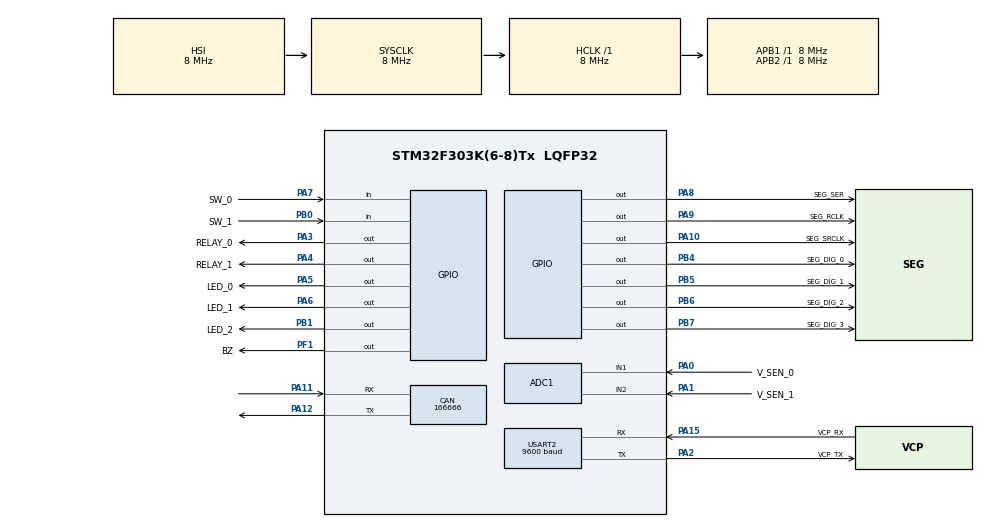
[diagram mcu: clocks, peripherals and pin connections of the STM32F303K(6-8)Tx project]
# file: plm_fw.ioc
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ADC1.Channel-0\#ChannelRegularConversion=ADC_CHANNEL_1
ADC1.ContinuousConvMode=DISABLE
ADC1.DMAContinuousRequests=DISABLE
ADC1.DiscontinuousConvMode=DISABLE
ADC1.EOCSelection=ADC_EOC_SEQ_CONV
ADC1.NbrOfConversion=1
ADC1.NbrOfConversionFlag=1
ADC1.Offset-0\#ChannelRegularConversion=0
ADC1.OffsetNumber-0\#ChannelRegularConversion=ADC_OFFSET_NONE
ADC1.Rank-0\#ChannelRegularConversion=1
ADC1.SamplingTime-0\#ChannelRegularConversion=ADC_SAMPLETIME_181CYCLES_5
ADC1.SubFamily=STM32F303x8
ADC1.master=1
CAN.CalculateBaudRate=166666
CAN.CalculateTimeBit=6000
CAN.CalculateTimeQuantum=2000.0
Mcu.Family=STM32F3
Mcu.Name=STM32F303K(6-8)Tx
Mcu.Package=LQFP32
NVIC.PriorityGroup=NVIC_PRIORITYGROUP_4
PA0.GPIO_Label=V_SEN_0
PA0.Mode=IN1-Single-Ended
PA0.Signal=ADC1_IN1
PA1.GPIO_Label=V_SEN_1
PA1.Mode=IN2-Single-Ended
PA1.Signal=ADC1_IN2
PA10.GPIO_Label=SEG_SRCLK
PA10.Signal=GPIO_Output
PA11.Mode=CAN_Activate
PA11.Signal=CAN_RX
PA12.Mode=CAN_Activate
PA12.Signal=CAN_TX
PA13.GPIO_Label=SWDIO
PA13.Mode=Serial_Wire
PA13.Signal=SYS_JTMS-SWDIO
PA14.GPIO_Label=SWCLK
PA14.Mode=Serial_Wire
PA14.Signal=SYS_JTCK-SWCLK
PA15.GPIO_Label=VCP_RX
PA15.Mode=Asynchronous
PA15.Signal=USART2_RX
PA2.GPIO_Label=VCP_TX
PA2.Mode=Asynchronous
PA2.Signal=USART2_TX
PA3.GPIO_Label=RELAY_0
PA3.Signal=GPIO_Output
PA4.GPIO_Label=RELAY_1
PA4.Signal=GPIO_Output
PA5.GPIO_Label=LED_0
PA5.Signal=GPIO_Output
PA6.GPIO_Label=LED_1
PA6.Signal=GPIO_Output
PA7.GPIO_Label=SW_0
PA7.Signal=GPIO_Input
PA8.GPIO_Label=SEG_SER
PA8.Signal=GPIO_Output
PA9.GPIO_Label=SEG_RCLK
PA9.Signal=GPIO_Output
PB0.GPIO_Label=SW_1
PB0.Signal=GPIO_Input
PB1.GPIO_Label=LED_2
PB1.Signal=GPIO_Output
PB3.Signal=SYS_JTDO-TRACESWO
PB4.GPIO_Label=SEG_DIG_0
PB4.Signal=GPIO_Output
PB5.GPIO_Label=SEG_DIG_1
PB5.Signal=GPIO_Output
PB6.GPIO_Label=SEG_DIG_2
PB6.Signal=GPIO_Output
PB7.GPIO_Label=SEG_DIG_3
PB7.Signal=GPIO_Output
PF0\ /\ OSC_IN.GPIO_Label=MCO
PF0\ /\ OSC_IN.Mode=HSE-External-Clock-Source
PF0\ /\ OSC_IN.Signal=RCC_OSC_IN
PF1\ /\ OSC_OUT.GPIO_Label=BZ
PF1\ /\ OSC_OUT.Signal=GPIO_Output
ProjectManager.HeapSize=0x200
ProjectManager.StackSize=0x400
ProjectManager.TargetToolchain=CMake
RCC.AHBFreq_Value=8000000
RCC.APB1Freq_Value=8000000
RCC.APB2Freq_Value=8000000
RCC.CortexFreq_Value=8000000
RCC.HSE_VALUE=8000000
RCC.HSI_VALUE=8000000
RCC.PLLMUL=RCC_PLL_MUL4
RCC.SYSCLKFreq_VALUE=8000000
USART2.BaudRate=9600
USART2.VirtualMode-Asynchronous=VM_ASYNC
board=NUCLEO-F303K8

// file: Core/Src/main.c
/* USER CODE BEGIN Header */
/**
 ******************************************************************************
 * @file           : main.c
 * @brief          : Main program body
 ******************************************************************************
 * @attention
 *
 * Copyright (c) 2025 STMicroelectronics.
 * All rights reserved.
 *
 * This software is licensed under terms that can be found in the LICENSE file
 * in the root directory of this software component.
 * If no LICENSE file comes with this software, it is provided AS-IS.
 *
 ******************************************************************************
 */
/* USER CODE END Header */
#include "main.h"

/* USER CODE BEGIN Includes */
#include "imrc_seg7_x4.h"
#include "stm32f3xx_hal_adc.h"
#include "stm32f3xx_hal_gpio.h"
#include <stdint.h>
#include <stdio.h>
#include <math.h>

/* USER CODE END Includes */

/* USER CODE BEGIN PD */

#define ADC_R1_OHM 1000
#define ADC_R2_OHM 500

/* USER CODE END PD */

ADC_HandleTypeDef hadc1;

CAN_HandleTypeDef hcan;

UART_HandleTypeDef huart2;

void SystemClock_Config(void);
static void MX_GPIO_Init(void);
static void MX_USART2_UART_Init(void);
static void MX_ADC1_Init(void);
static void MX_CAN_Init(void);
/* USER CODE BEGIN PFP */

void pwr_relay(uint8_t relay_index, uint8_t state);
void dbg_led(uint8_t led_index, uint8_t state);
uint8_t dbg_sw(uint8_t sw_index);

void __io_putchar(uint8_t ch)
{
    HAL_UART_Transmit(&huart2, &ch, 1, 1);
}

/* USER CODE END PFP */

/* USER CODE BEGIN 0 */

static uint32_t adc_dma_buffer[2];

/* USER CODE END 0 */

int main(void)
{

    /* MCU Configuration--------------------------------------------------------*/

    /* Reset of all peripherals, Initializes the Flash interface and the Systick. */
    HAL_Init();

    /* Configure the system clock */
    SystemClock_Config();

    /* Initialize all configured peripherals */
    MX_GPIO_Init();
    MX_USART2_UART_Init();
    MX_ADC1_Init();
    MX_CAN_Init();
    /* USER CODE BEGIN 2 */

    uint16_t seg7_digit_pin[4] = {
        SEG_DIG_0_Pin,
        SEG_DIG_1_Pin,
        SEG_DIG_2_Pin,
        SEG_DIG_3_Pin,
    };

    GPIO_TypeDef *seg7_digit_port[4] = {
        SEG_DIG_0_GPIO_Port,
        SEG_DIG_1_GPIO_Port,
        SEG_DIG_2_GPIO_Port,
        SEG_DIG_3_GPIO_Port,
    };

    // 7セグ 初期化
    seg7_init(seg7_digit_pin, seg7_digit_port, SEG_SER_Pin, SEG_SER_GPIO_Port, SEG_RCLK_Pin, SEG_RCLK_GPIO_Port, SEG_SRCLK_Pin, SEG_SRCLK_GPIO_Port);

    pwr_relay(0, 0);
    pwr_relay(1, 0);

    dbg_led(0, 1);
    dbg_led(1, 1);
    dbg_led(2, 1);

    // HAL_Delay(500);
    for (int i = 0; i < 100; i++)
    {
        // char boot_7seg[] = "417-";
        char boot_7seg[] = "volt";
        seg7_print(boot_7seg, 4, false, false);
    }

    dbg_led(0, 0);
    dbg_led(1, 0);
    dbg_led(2, 0);

    HAL_ADCEx_Calibration_Start(&hadc1, ADC_SINGLE_ENDED);
    HAL_ADC_Start(&hadc1);

    setbuf(stdout, NULL);
    /* USER CODE END 2 */

    /* Infinite loop */
    while (1)
    {

        /* USER CODE BEGIN 3 */
        char seg7_buffer[8];
        // seg7_print(seg7_buffer, 4, false, false);

        HAL_ADC_Start(&hadc1);

        HAL_ADC_PollForConversion(&hadc1, 1000);
        uint32_t adc_voltage_0 = HAL_ADC_GetValue(&hadc1);
        float f_vol_0 = (float)((float)adc_voltage_0 / (float)4096) * 3.3;
        f_vol_0 *= 7.85f;

        if(f_vol_0 < 0){
            f_vol_0 = 0.0f;
        }

        if(f_vol_0 <= 19.5f)
        {
            pwr_relay(0, 1);
            dbg_led(2, 1);
            dbg_led(0, 0);
        } else {
            pwr_relay(0, 0);
            dbg_led(2, 0);
            dbg_led(0, 1);
        }

        /* HAL_ADC_PollForConversion(&hadc1, 10);
        uint32_t adc_voltage_1 = HAL_ADC_GetValue(&hadc1); */

        printf("%.3fv\n", f_vol_0);

        if (f_vol_0 < 10.0f)
        {
            snprintf(seg7_buffer, 8, "%.2f", f_vol_0); // 小数点第1位まで（結果: "12.2"）
        }
        else
        {
            snprintf(seg7_buffer, 8, "%.1f", f_vol_0);
        }

        seg7_buffer[4] = 'v';
        seg7_print(seg7_buffer, 4, false, false);

        // HAL_GPIO_TogglePin(LED_0_GPIO_Port, LED_0_Pin);
        // printf("CHANNEL 0: %d\n", adc_voltage_0);

        // printf("CHANNEL 0: %d, CHANNEL 1: %d\n", adc_voltage_0, adc_voltage_1);
    }
    /* USER CODE END 3 */
}

void SystemClock_Config(void)
{
    RCC_OscInitTypeDef RCC_OscInitStruct = {0};
    RCC_ClkInitTypeDef RCC_ClkInitStruct = {0};
    RCC_PeriphCLKInitTypeDef PeriphClkInit = {0};

    /** Initializes the RCC Oscillators according to the specified parameters
     * in the RCC_OscInitTypeDef structure.
     */
    RCC_OscInitStruct.OscillatorType = RCC_OSCILLATORTYPE_HSI;
    RCC_OscInitStruct.HSIState = RCC_HSI_ON;
    RCC_OscInitStruct.HSICalibrationValue = RCC_HSICALIBRATION_DEFAULT;
    RCC_OscInitStruct.PLL.PLLState = RCC_PLL_ON;
    RCC_OscInitStruct.PLL.PLLSource = RCC_PLLSOURCE_HSI;
    RCC_OscInitStruct.PLL.PLLMUL = RCC_PLL_MUL4;
    if (HAL_RCC_OscConfig(&RCC_OscInitStruct) != HAL_OK)
    {
        Error_Handler();
    }

    /** Initializes the CPU, AHB and APB buses clocks
     */
    RCC_ClkInitStruct.ClockType = RCC_CLOCKTYPE_HCLK | RCC_CLOCKTYPE_SYSCLK | RCC_CLOCKTYPE_PCLK1 | RCC_CLOCKTYPE_PCLK2;
    RCC_ClkInitStruct.SYSCLKSource = RCC_SYSCLKSOURCE_HSI;
    RCC_ClkInitStruct.AHBCLKDivider = RCC_SYSCLK_DIV1;
    RCC_ClkInitStruct.APB1CLKDivider = RCC_HCLK_DIV1;
    RCC_ClkInitStruct.APB2CLKDivider = RCC_HCLK_DIV1;

    if (HAL_RCC_ClockConfig(&RCC_ClkInitStruct, FLASH_LATENCY_0) != HAL_OK)
    {
        Error_Handler();
    }
    PeriphClkInit.PeriphClockSelection = RCC_PERIPHCLK_ADC12;
    PeriphClkInit.Adc12ClockSelection = RCC_ADC12PLLCLK_DIV1;
    if (HAL_RCCEx_PeriphCLKConfig(&PeriphClkInit) != HAL_OK)
    {
        Error_Handler();
    }
}

static void MX_ADC1_Init(void)
{

    ADC_MultiModeTypeDef multimode = {0};
    ADC_ChannelConfTypeDef sConfig = {0};

    /** Common config
     */
    hadc1.Instance = ADC1;
    hadc1.Init.ClockPrescaler = ADC_CLOCK_ASYNC_DIV1;
    hadc1.Init.Resolution = ADC_RESOLUTION_12B;
    hadc1.Init.ScanConvMode = ADC_SCAN_DISABLE;
    hadc1.Init.ContinuousConvMode = DISABLE;
    hadc1.Init.DiscontinuousConvMode = DISABLE;
    hadc1.Init.ExternalTrigConvEdge = ADC_EXTERNALTRIGCONVEDGE_NONE;
    hadc1.Init.ExternalTrigConv = ADC_SOFTWARE_START;
    hadc1.Init.DataAlign = ADC_DATAALIGN_RIGHT;
    hadc1.Init.NbrOfConversion = 1;
    hadc1.Init.DMAContinuousRequests = DISABLE;
    hadc1.Init.EOCSelection = ADC_EOC_SEQ_CONV;
    hadc1.Init.LowPowerAutoWait = DISABLE;
    hadc1.Init.Overrun = ADC_OVR_DATA_OVERWRITTEN;
    if (HAL_ADC_Init(&hadc1) != HAL_OK)
    {
        Error_Handler();
    }

    /** Configure the ADC multi-mode
     */
    multimode.Mode = ADC_MODE_INDEPENDENT;
    if (HAL_ADCEx_MultiModeConfigChannel(&hadc1, &multimode) != HAL_OK)
    {
        Error_Handler();
    }

    /** Configure Regular Channel
     */
    sConfig.Channel = ADC_CHANNEL_1;
    sConfig.Rank = ADC_REGULAR_RANK_1;
    sConfig.SingleDiff = ADC_SINGLE_ENDED;
    sConfig.SamplingTime = ADC_SAMPLETIME_181CYCLES_5;
    sConfig.OffsetNumber = ADC_OFFSET_NONE;
    sConfig.Offset = 0;
    if (HAL_ADC_ConfigChannel(&hadc1, &sConfig) != HAL_OK)
    {
        Error_Handler();
    }
}

static void MX_CAN_Init(void)
{

    hcan.Instance = CAN;
    hcan.Init.Prescaler = 16;
    hcan.Init.Mode = CAN_MODE_NORMAL;
    hcan.Init.SyncJumpWidth = CAN_SJW_1TQ;
    hcan.Init.TimeSeg1 = CAN_BS1_1TQ;
    hcan.Init.TimeSeg2 = CAN_BS2_1TQ;
    hcan.Init.TimeTriggeredMode = DISABLE;
    hcan.Init.AutoBusOff = DISABLE;
    hcan.Init.AutoWakeUp = DISABLE;
    hcan.Init.AutoRetransmission = DISABLE;
    hcan.Init.ReceiveFifoLocked = DISABLE;
    hcan.Init.TransmitFifoPriority = DISABLE;
    if (HAL_CAN_Init(&hcan) != HAL_OK)
    {
        Error_Handler();
    }
}

static void MX_USART2_UART_Init(void)
{

    huart2.Instance = USART2;
    huart2.Init.BaudRate = 9600;
    huart2.Init.WordLength = UART_WORDLENGTH_8B;
    huart2.Init.StopBits = UART_STOPBITS_1;
    huart2.Init.Parity = UART_PARITY_NONE;
    huart2.Init.Mode = UART_MODE_TX_RX;
    huart2.Init.HwFlowCtl = UART_HWCONTROL_NONE;
    huart2.Init.OverSampling = UART_OVERSAMPLING_16;
    huart2.Init.OneBitSampling = UART_ONE_BIT_SAMPLE_DISABLE;
    huart2.AdvancedInit.AdvFeatureInit = UART_ADVFEATURE_NO_INIT;
    if (HAL_UART_Init(&huart2) != HAL_OK)
    {
        Error_Handler();
    }
}

static void MX_GPIO_Init(void)
{
    GPIO_InitTypeDef GPIO_InitStruct = {0};

    /* GPIO Ports Clock Enable */
    __HAL_RCC_GPIOF_CLK_ENABLE();
    __HAL_RCC_GPIOA_CLK_ENABLE();
    __HAL_RCC_GPIOB_CLK_ENABLE();

    /*Configure GPIO pin Output Level */
    HAL_GPIO_WritePin(BZ_GPIO_Port, BZ_Pin, GPIO_PIN_RESET);

    /*Configure GPIO pin Output Level */
    HAL_GPIO_WritePin(GPIOA, RELAY_0_Pin | RELAY_1_Pin | LED_0_Pin | LED_1_Pin | SEG_SER_Pin | SEG_RCLK_Pin | SEG_SRCLK_Pin, GPIO_PIN_RESET);

    /*Configure GPIO pin Output Level */
    HAL_GPIO_WritePin(GPIOB, LED_2_Pin | SEG_DIG_0_Pin | SEG_DIG_1_Pin | SEG_DIG_2_Pin | SEG_DIG_3_Pin, GPIO_PIN_RESET);

    /*Configure GPIO pin : BZ_Pin */
    GPIO_InitStruct.Pin = BZ_Pin;
    GPIO_InitStruct.Mode = GPIO_MODE_OUTPUT_PP;
    GPIO_InitStruct.Pull = GPIO_NOPULL;
    GPIO_InitStruct.Speed = GPIO_SPEED_FREQ_LOW;
    HAL_GPIO_Init(BZ_GPIO_Port, &GPIO_InitStruct);

    /*Configure GPIO pins : RELAY_0_Pin RELAY_1_Pin LED_0_Pin LED_1_Pin
                             SEG_SER_Pin SEG_RCLK_Pin SEG_SRCLK_Pin */
    GPIO_InitStruct.Pin = RELAY_0_Pin | RELAY_1_Pin | LED_0_Pin | LED_1_Pin | SEG_SER_Pin | SEG_RCLK_Pin | SEG_SRCLK_Pin;
    GPIO_InitStruct.Mode = GPIO_MODE_OUTPUT_PP;
    GPIO_InitStruct.Pull = GPIO_NOPULL;
    GPIO_InitStruct.Speed = GPIO_SPEED_FREQ_LOW;
    HAL_GPIO_Init(GPIOA, &GPIO_InitStruct);

    /*Configure GPIO pin : SW_0_Pin */
    GPIO_InitStruct.Pin = SW_0_Pin;
    GPIO_InitStruct.Mode = GPIO_MODE_INPUT;
    GPIO_InitStruct.Pull = GPIO_NOPULL;
    HAL_GPIO_Init(SW_0_GPIO_Port, &GPIO_InitStruct);

    /*Configure GPIO pin : SW_1_Pin */
    GPIO_InitStruct.Pin = SW_1_Pin;
    GPIO_InitStruct.Mode = GPIO_MODE_INPUT;
    GPIO_InitStruct.Pull = GPIO_NOPULL;
    HAL_GPIO_Init(SW_1_GPIO_Port, &GPIO_InitStruct);

    /*Configure GPIO pins : LED_2_Pin SEG_DIG_0_Pin SEG_DIG_1_Pin SEG_DIG_2_Pin
                             SEG_DIG_3_Pin */
    GPIO_InitStruct.Pin = LED_2_Pin | SEG_DIG_0_Pin | SEG_DIG_1_Pin | SEG_DIG_2_Pin | SEG_DIG_3_Pin;
    GPIO_InitStruct.Mode = GPIO_MODE_OUTPUT_PP;
    GPIO_InitStruct.Pull = GPIO_NOPULL;
    GPIO_InitStruct.Speed = GPIO_SPEED_FREQ_LOW;
    HAL_GPIO_Init(GPIOB, &GPIO_InitStruct);

}

/* USER CODE BEGIN 4 */

void pwr_relay(uint8_t relay_index, uint8_t state)
{
    uint16_t relay_pin[2] = {
        RELAY_0_Pin,
        RELAY_1_Pin};
    GPIO_TypeDef *relay_port[2] = {
        RELAY_0_GPIO_Port,
        RELAY_1_GPIO_Port};

    HAL_GPIO_WritePin(relay_port[relay_index], relay_pin[relay_index], state);
}

void dbg_led(uint8_t led_index, uint8_t state)
{
    uint16_t led_pin[3] = {
        LED_0_Pin,
        LED_1_Pin,
        LED_2_Pin,
    };
    GPIO_TypeDef *led_port[3] = {
        LED_0_GPIO_Port,
        LED_1_GPIO_Port,
        LED_2_GPIO_Port};

    HAL_GPIO_WritePin(led_port[led_index], led_pin[led_index], state);
}

uint8_t dbg_sw(uint8_t sw_index)
{
    GPIO_TypeDef *sw_port[3] = {
        SW_0_GPIO_Port,
        SW_1_GPIO_Port};

    uint16_t sw_pin[3] = {
        SW_0_Pin,
        SW_1_Pin};

    return !(HAL_GPIO_ReadPin(sw_port[sw_index], sw_pin[sw_index]));
}

float pwr_getVoltage(uint8_t channel)
{
    float voltage = 0.0;

    // ADCで分圧された値を取得

    voltage = voltage * (float)(ADC_R1_OHM / (ADC_R1_OHM + ADC_R2_OHM));
}

/* USER CODE END 4 */

void Error_Handler(void)
{
    __disable_irq();
    while (1)
    {
    }
}
